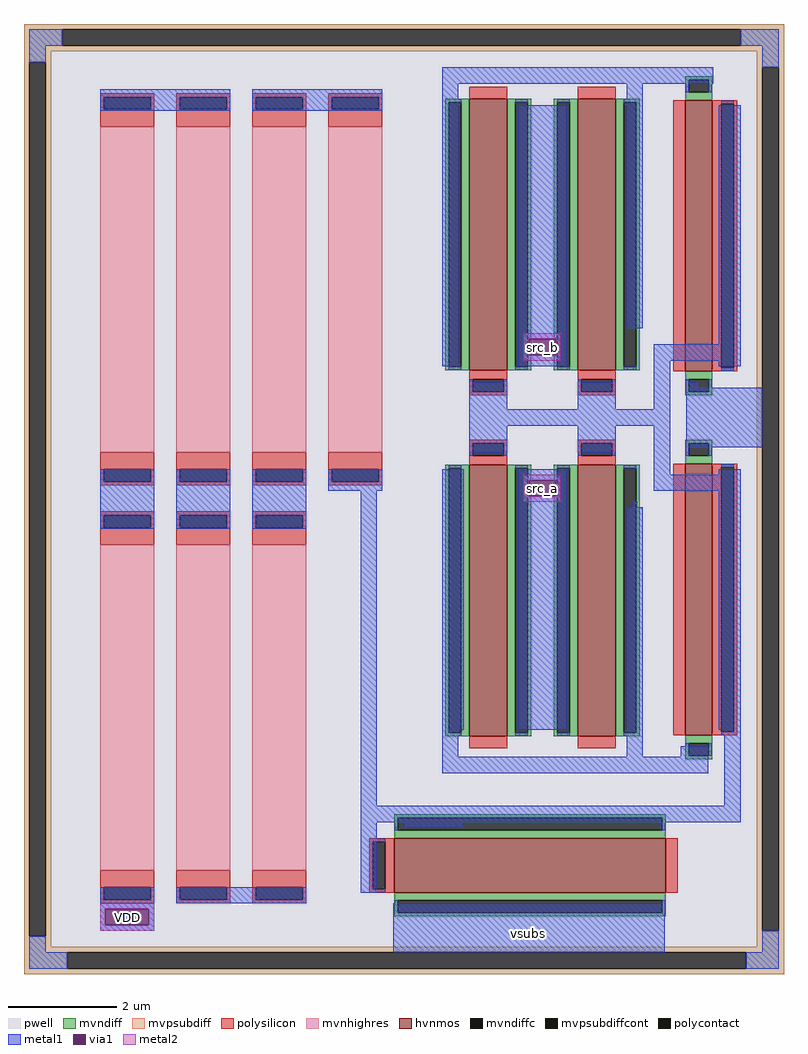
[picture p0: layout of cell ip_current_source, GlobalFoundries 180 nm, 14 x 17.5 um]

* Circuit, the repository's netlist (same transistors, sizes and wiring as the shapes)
** sch_path: /foss/designs/ttgf-analog-openschnapp/xschem/ip_current_source.sch
.subckt ip_current_source vdd src_a vsubs src_b
*.PININFO vdd:B vsubs:B src_a:I src_b:I
XM8 refin refin vsubs vsubs nfet_06v0 L=1u W=5u nf=1 ad='int((nf+1)/2) * W/nf * 0.18u' as='int((nf+2)/2) * W/nf * 0.18u' pd='2*int((nf+1)/2) * (W/nf + 0.18u)'
+ ps='2*int((nf+2)/2) * (W/nf + 0.18u)' nrd='0.18u / W' nrs='0.18u / W' sa=0 sb=0 sd=0
XM5 src_a refin net1 vsubs nfet_06v0 L=0.7u W=5u nf=1 ad='int((nf+1)/2) * W/nf * 0.18u' as='int((nf+2)/2) * W/nf * 0.18u' pd='2*int((nf+1)/2) * (W/nf + 0.18u)'
+ ps='2*int((nf+2)/2) * (W/nf + 0.18u)' nrd='0.18u / W' nrs='0.18u / W' sa=0 sb=0 sd=0
XM2 src_a refin net1 vsubs nfet_06v0 L=0.7u W=5u nf=1 ad='int((nf+1)/2) * W/nf * 0.18u' as='int((nf+2)/2) * W/nf * 0.18u' pd='2*int((nf+1)/2) * (W/nf + 0.18u)'
+ ps='2*int((nf+2)/2) * (W/nf + 0.18u)' nrd='0.18u / W' nrs='0.18u / W' sa=0 sb=0 sd=0
XM3 src_b refin net8 vsubs nfet_06v0 L=0.7u W=5u nf=1 ad='int((nf+1)/2) * W/nf * 0.18u' as='int((nf+2)/2) * W/nf * 0.18u' pd='2*int((nf+1)/2) * (W/nf + 0.18u)'
+ ps='2*int((nf+2)/2) * (W/nf + 0.18u)' nrd='0.18u / W' nrs='0.18u / W' sa=0 sb=0 sd=0
XM6 src_b refin net8 vsubs nfet_06v0 L=0.7u W=5u nf=1 ad='int((nf+1)/2) * W/nf * 0.18u' as='int((nf+2)/2) * W/nf * 0.18u' pd='2*int((nf+1)/2) * (W/nf + 0.18u)'
+ ps='2*int((nf+2)/2) * (W/nf + 0.18u)' nrd='0.18u / W' nrs='0.18u / W' sa=0 sb=0 sd=0
XM4 net1 refin vsubs vsubs nfet_06v0 L=5u W=0.5u nf=1 ad='int((nf+1)/2) * W/nf * 0.18u' as='int((nf+2)/2) * W/nf * 0.18u' pd='2*int((nf+1)/2) * (W/nf + 0.18u)'
+ ps='2*int((nf+2)/2) * (W/nf + 0.18u)' nrd='0.18u / W' nrs='0.18u / W' sa=0 sb=0 sd=0
XM7 net8 refin vsubs vsubs nfet_06v0 L=5u W=0.5u nf=1 ad='int((nf+1)/2) * W/nf * 0.18u' as='int((nf+2)/2) * W/nf * 0.18u' pd='2*int((nf+1)/2) * (W/nf + 0.18u)'
+ ps='2*int((nf+2)/2) * (W/nf + 0.18u)' nrd='0.18u / W' nrs='0.18u / W' sa=0 sb=0 sd=0
XR3 net2 net4 vsubs ppolyf_u_1k_6p0 r_width=1e-6 r_length=6e-6
XR4 net3 net2 vsubs ppolyf_u_1k_6p0 r_width=1e-6 r_length=6e-6
XR5 refin net3 vsubs ppolyf_u_1k_6p0 r_width=1e-6 r_length=6e-6
XR1 net4 net6 vsubs ppolyf_u_1k_6p0 r_width=1e-6 r_length=6e-6
XR2 net6 net5 vsubs ppolyf_u_1k_6p0 r_width=1e-6 r_length=6e-6
XR6 net5 net7 vsubs ppolyf_u_1k_6p0 r_width=1e-6 r_length=6e-6
XR7 net7 vdd vsubs ppolyf_u_1k_6p0 r_width=1e-6 r_length=6e-6
.ends

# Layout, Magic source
magic
tech gf180mcuD
magscale 1 5
<< pwell >>
rect 800 1350 2200 2650
rect 800 1300 1600 1350
rect 1610 1300 2200 1350
rect 800 900 2200 1300
<< mvpsubdiff >>
rect 800 2640 2200 2650
rect 800 2610 870 2640
rect 2120 2610 2200 2640
rect 800 2600 2200 2610
rect 800 2580 850 2600
rect 800 970 810 2580
rect 840 970 850 2580
rect 800 950 850 970
rect 2150 2570 2200 2600
rect 2150 980 2160 2570
rect 2190 980 2200 2570
rect 2150 950 2200 980
rect 800 940 2200 950
rect 800 910 880 940
rect 2130 910 2200 940
rect 800 900 2200 910
<< mvpsubdiffcont >>
rect 870 2610 2120 2640
rect 810 970 840 2580
rect 2160 980 2190 2570
rect 880 910 2130 940
<< metal1 >>
rect 810 2610 870 2640
rect 2120 2610 2190 2640
rect 810 2580 840 2610
rect 2160 2570 2190 2610
rect 1570 2540 2070 2570
rect 940 2490 1180 2530
rect 1220 2490 1460 2530
rect 1570 2020 1600 2540
rect 1710 2070 1800 2500
rect 1910 2090 1940 2540
rect 1710 2040 1730 2070
rect 1780 2040 1800 2070
rect 2080 2060 2120 2500
rect 1710 2020 1800 2040
rect 1960 2030 2120 2060
rect 1620 1940 1690 1990
rect 1820 1940 1890 1990
rect 1960 1940 1990 2030
rect 2080 2020 2120 2030
rect 1620 1910 1990 1940
rect 1620 1860 1690 1910
rect 1820 1860 1890 1910
rect 940 1720 1040 1830
rect 1080 1720 1180 1830
rect 1220 1720 1320 1830
rect 1360 1790 1460 1830
rect 1420 1210 1450 1790
rect 1570 1350 1610 1830
rect 1710 1810 1800 1830
rect 1710 1780 1730 1810
rect 1780 1780 1800 1810
rect 1960 1820 1990 1910
rect 2020 1980 2040 1990
rect 2020 1870 2160 1980
rect 2080 1820 2120 1830
rect 1960 1790 2120 1820
rect 1710 1350 1800 1780
rect 1920 1760 1930 1770
rect 1570 1300 1600 1350
rect 1910 1300 1940 1760
rect 2080 1350 2120 1790
rect 2010 1300 2060 1320
rect 1570 1270 2060 1300
rect 2090 1210 2120 1350
rect 1420 1180 2120 1210
rect 940 1020 1040 1060
rect 1080 1030 1320 1060
rect 1420 1050 1450 1180
rect 1500 1170 1610 1180
rect 1970 1170 1980 1180
rect 940 990 950 1020
rect 1030 990 1040 1020
rect 940 980 1040 990
rect 810 940 840 970
rect 1480 940 1980 1030
rect 2160 940 2190 980
rect 810 910 880 940
rect 2130 910 2190 940
<< via1 >>
rect 1730 2040 1780 2070
rect 1730 1780 1780 1810
rect 950 990 1030 1020
<< metal2 >>
rect 1720 2070 1790 2080
rect 1720 2040 1730 2070
rect 1780 2040 1790 2070
rect 1720 2030 1790 2040
rect 1720 1810 1790 1820
rect 1720 1780 1730 1810
rect 1780 1780 1790 1810
rect 1720 1770 1790 1780
rect 940 1020 1040 1030
rect 940 990 950 1020
rect 1030 990 1040 1020
rect 940 980 1040 990
use nfet_06v0_PJ828U  M1
transform 0 -1 1720 1 0 1100
box -110 -300 110 300
use nfet_06v0_EXM5W3  M2
transform 1 0 1655 0 1 1600
box -95 -300 95 300
use nfet_06v0_EXM5W3  M3
transform -1 0 1855 0 -1 2250
box -95 -300 95 300
use nfet_06v0_ULQ6TN  M4
transform 0 1 2055 -1 0 1590
box -310 -75 310 75
use nfet_06v0_EXM5W3  M5
transform 1 0 1855 0 1 1600
box -95 -300 95 300
use nfet_06v0_EXM5W3  M6
transform -1 0 1655 0 -1 2250
box -95 -300 95 300
use nfet_06v0_ULQ6TN  M7
transform 0 1 2055 -1 0 2260
box -310 -75 310 75
use ppolyf_u_1k_6p0_L3QVMB  ppolyf_u_1k_6p0_L3QVMB_0
transform 1 0 990 0 1 1391
box -50 -361 50 361
use ppolyf_u_1k_6p0_L3QVMB  ppolyf_u_1k_6p0_L3QVMB_1
transform 1 0 1130 0 1 1391
box -50 -361 50 361
use ppolyf_u_1k_6p0_L3QVMB  ppolyf_u_1k_6p0_L3QVMB_2
transform 1 0 1270 0 1 1391
box -50 -361 50 361
use ppolyf_u_1k_6p0_L3QVMB  ppolyf_u_1k_6p0_L3QVMB_3
transform 1 0 990 0 1 2161
box -50 -361 50 361
use ppolyf_u_1k_6p0_L3QVMB  ppolyf_u_1k_6p0_L3QVMB_4
transform 1 0 1130 0 1 2161
box -50 -361 50 361
use ppolyf_u_1k_6p0_L3QVMB  ppolyf_u_1k_6p0_L3QVMB_5
transform 1 0 1270 0 1 2161
box -50 -361 50 361
use ppolyf_u_1k_6p0_L3QVMB  ppolyf_u_1k_6p0_L3QVMB_6
transform 1 0 1410 0 1 2161
box -50 -361 50 361
<< labels >>
flabel metal1 1490 950 1970 1000 0 FreeSans 160 0 0 0 vsubs
port 1 nsew
flabel metal2 1720 2030 1790 2080 0 FreeSans 160 0 0 0 src_b
port 2 nsew
flabel metal2 1720 1770 1790 1820 0 FreeSans 160 0 0 0 src_a
port 3 nsew
flabel metal2 940 980 1040 1030 0 FreeSans 160 180 0 0 VDD
port 0 nsew
<< end >>

# cell nfet_06v0_PJ828U: kit device nfet_06v0, w 5 l 1 m 1 nf 1 diffcov 100 polycov 100 guard 0 glc 0 grc 0 gtc 0 gbc 0 tbcov 100 rlcov 100 topc 1 botc 0 poverlap 0 doverlap 1 lmin 0.7 wmin 0.3 class mosfet full_metal 0 compatible {nfet_03v3 nfet_05v0 nfet_06v0 nfet_06v0_nvt}

# cell nfet_06v0_EXM5W3: kit device nfet_06v0, w 5 l 0.7 m 1 nf 1 diffcov 100 polycov 100 guard 0 glc 0 grc 0 gtc 0 gbc 0 tbcov 100 rlcov 100 topc 1 botc 0 poverlap 0 doverlap 1 lmin 0.7 wmin 0.3 class mosfet full_metal 0 compatible {nfet_03v3 nfet_05v0 nfet_06v0 nfet_06v0_nvt}

# cell nfet_06v0_ULQ6TN: kit device nfet_06v0, w 0.5 l 5 m 1 nf 1 diffcov 100 polycov 100 guard 0 glc 0 grc 0 gtc 0 gbc 0 tbcov 100 rlcov 100 topc 1 botc 0 poverlap 0 doverlap 1 lmin 0.7 wmin 0.3 class mosfet full_metal 0 compatible {nfet_03v3 nfet_05v0 nfet_06v0 nfet_06v0_nvt}

# cell ppolyf_u_1k_6p0_L3QVMB: kit device ppolyf_u_1k_6p0, w 1.0 l 6.0 m 1 nx 1 wmin 1.000 lmin 1.000 class resistor rho 1000 val 6.183k dummy 0 dw 0.0296 term 0.0 sterm 0.0 caplen 0.4 snake 0 glc 0 grc 0 gtc 0 gbc 0 roverlap 0 endcov 100 full_metal 0 guard 0 guard_type pwell compatible {ppolyf_u_1k ppolyf_u_1k_6p0}
